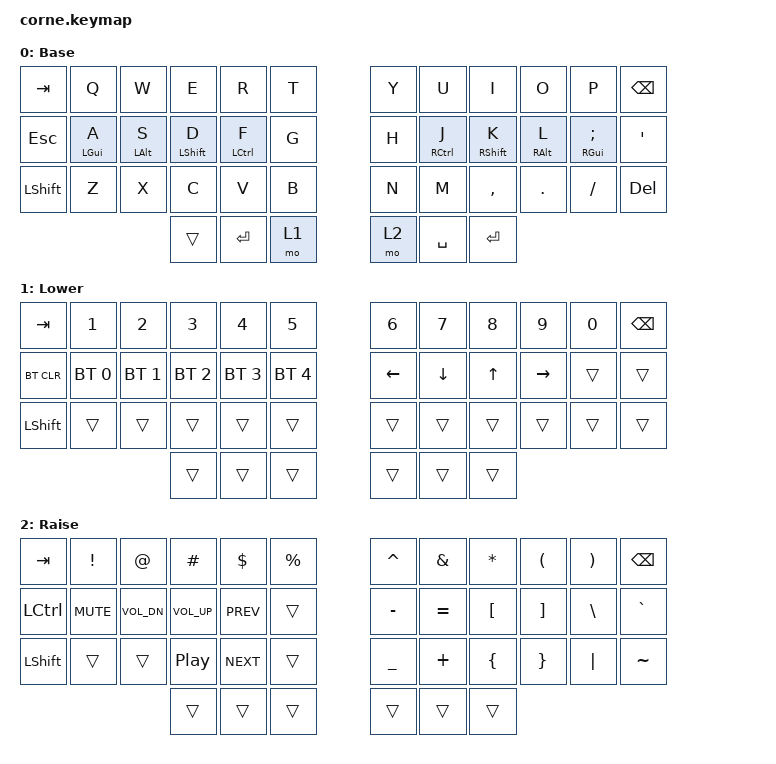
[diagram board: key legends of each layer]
/*
 * Copyright (c) 2020 The ZMK Contributors
 *
 * SPDX-License-Identifier: MIT
 */

#include <behaviors.dtsi>
#include <dt-bindings/zmk/bt.h>
#include <dt-bindings/zmk/keys.h>

/ {
    behaviors {
        hml: homerow_mods_left {
            compatible = "zmk,behavior-hold-tap";
            #binding-cells = <2>;
            flavor = "balanced";
            tapping-term-ms = <280>;
            quick-tap-ms = <175>;
            require-prior-idle-ms = <150>;
            bindings = <&kp>, <&kp>;

            hold-trigger-key-positions = <6 7 8 9 10 11 18 19 20 21 22 23 30 31 32 33 34 35>;
            hold-trigger-on-release;
        };

        hmr: homerow_mods_right {
            compatible = "zmk,behavior-hold-tap";
            #binding-cells = <2>;
            flavor = "balanced";
            tapping-term-ms = <280>;
            quick-tap-ms = <175>;
            require-prior-idle-ms = <150>;
            bindings = <&kp>, <&kp>;

            hold-trigger-key-positions = <0 1 2 3 4 5 12 13 14 15 16 17 24 25 26 27 28 29>;
            hold-trigger-on-release;
        };

        lt_spc: layer_tap_space {
            compatible = "zmk,behavior-hold-tap";
            #binding-cells = <2>;
            flavor = "balanced";
            tapping-term-ms = <200>;
            quick-tap-ms = <175>;
            bindings = <&mo>, <&kp>;
        };

        lt_ret: layer_tap_return {
            compatible = "zmk,behavior-hold-tap";
            #binding-cells = <2>;
            flavor = "balanced";
            tapping-term-ms = <200>;
            quick-tap-ms = <175>;
            bindings = <&mo>, <&kp>;
        };
    };

    macros {
        screenshot_area: screenshot_area {
            compatible = "zmk,behavior-macro";
            #binding-cells = <0>;
            bindings = <&kp LG(LS(N4))>;
        };

        screenshot_tool: screenshot_tool {
            compatible = "zmk,behavior-macro";
            #binding-cells = <0>;
            bindings = <&kp LG(LS(N5))>;
        };
    };

    combos {
        compatible = "zmk,combos";

        combo_esc {
            timeout-ms = <40>;
            key-positions = <1 2>;
            bindings = <&kp ESC>;
        };

        combo_tab {
            timeout-ms = <40>;
            key-positions = <2 3>;
            bindings = <&kp TAB>;
        };

        combo_screenshot_area {
            timeout-ms = <40>;
            key-positions = <5 6>;
            bindings = <&screenshot_area>;
        };

        combo_screenshot_tool {
            timeout-ms = <40>;
            key-positions = <5 7>;
            bindings = <&screenshot_tool>;
        };
    };

    keymap {
        compatible = "zmk,keymap";

        default_layer {
            display-name = "Base";

            // -----------------------------------------------------------------------------------------
            // |  TAB |  Q  |  W  |  E  |  R  |  T  |   |  Y  |  U   |  I  |  O  |  P  | BSPC |
            // |  ESC |  A  |  S  |  D  |  F  |  G  |   |  H  |  J   |  K  |  L  |  ;  |  '   |
            // | SHFT |  Z  |  X  |  C  |  V  |  B  |   |  N  |  M   |  ,  |  .  |  /  | DEL  |
            //                    | GUI | SPC | LWR |   | RSE | RET  | ALT |

            bindings = <
&kp TAB    &kp Q        &kp W        &kp E         &kp R         &kp T     &kp Y   &kp U         &kp I         &kp O        &kp P           &kp BSPC
&kp ESC    &hml LGUI A  &hml LALT S  &hml LSHFT D  &hml LCTRL F  &kp G     &kp H   &hmr RCTRL J  &hmr RSHFT K  &hmr RALT L  &hmr RGUI SEMI  &kp SQT
&kp LSHFT  &kp Z        &kp X        &kp C         &kp V         &kp B     &kp N   &kp M         &kp COMMA     &kp DOT      &kp FSLH        &kp DEL
                                     &trans        &kp ENTER     &mo 1     &mo 2   &kp SPACE     &kp RET
            >;
        };

        lower_layer {
            display-name = "Lower";

            // -----------------------------------------------------------------------------------------
            // |  TAB |  1  |  2  |  3  |  4  |  5  |   |  6  |  7  |  8  |  9  |  0  | BSPC |
            // | BTCLR| BT1 | BT2 | BT3 | BT4 | BT5 |   | LFT | DWN |  UP | RGT |     |      |
            // | SHFT |     |     |     |     |     |   |     |     |     |     |     |      |
            //                    | GUI |     | SPC |   | ENT |     | ALT |

            bindings = <
&kp TAB     &kp N1        &kp N2        &kp N3        &kp N4        &kp N5          &kp N6    &kp N7    &kp N8    &kp N9     &kp N0  &kp BSPC
&bt BT_CLR  &bt BT_SEL 0  &bt BT_SEL 1  &bt BT_SEL 2  &bt BT_SEL 3  &bt BT_SEL 4    &kp LEFT  &kp DOWN  &kp UP    &kp RIGHT  &trans  &trans
&kp LSHFT   &trans        &trans        &trans        &trans        &trans          &trans    &trans    &trans    &trans     &trans  &trans
                                        &trans        &trans        &trans          &trans    &trans    &trans
            >;
        };

        raise_layer {
            display-name = "Raise";

            // -----------------------------------------------------------------------------------------
            // |  TAB |  !  |  @  |  #  |  $  |  %  |   |  ^  |  &  |  *  |  (  |  )  | BSPC |
            // | CTRL |     |     |     |     |     |   |  -  |  =  |  [  |  ]  |  \  |  `   |
            // | SHFT |     |     |     |     |     |   |  _  |  +  |  {  |  }  | "|" |  ~   |
            //                    | GUI |     | SPC |   | ENT |     | ALT |

            bindings = <
&kp TAB    &kp EXCL  &kp AT  &kp HASH  &kp DLLR  &kp PRCNT    &kp CARET  &kp AMPS   &kp ASTRK  &kp LPAR  &kp RPAR  &kp BSPC
&kp LCTRL  &kp C_MUTE  &kp C_VOL_DN  &kp C_VOL_UP  &kp C_PREV  &trans       &kp MINUS  &kp EQUAL  &kp LBKT   &kp RBKT  &kp BSLH  &kp GRAVE
&kp LSHFT  &trans      &trans        &kp C_PP      &kp C_NEXT  &trans       &kp UNDER  &kp PLUS   &kp LBRC   &kp RBRC  &kp PIPE  &kp TILDE
                             &trans    &trans    &trans       &trans     &trans     &trans
            >;
        };
    };
};
